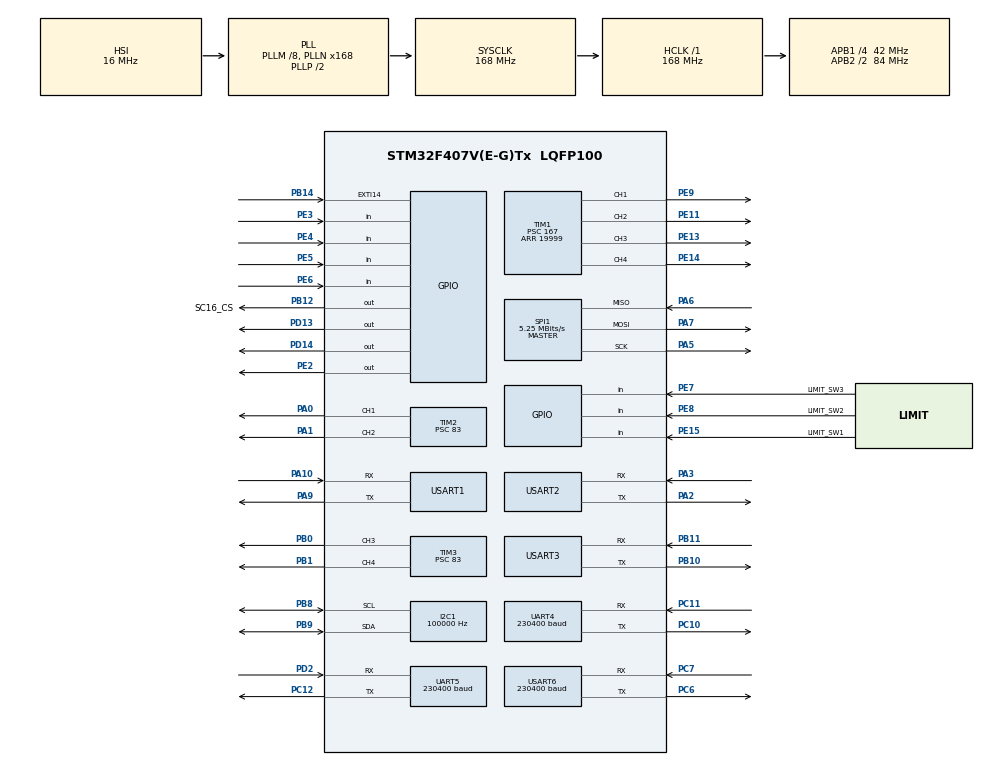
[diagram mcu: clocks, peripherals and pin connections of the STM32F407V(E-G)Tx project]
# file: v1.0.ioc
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Dma.I2C1_TX.0.Direction=DMA_MEMORY_TO_PERIPH
Dma.I2C1_TX.0.FIFOMode=DMA_FIFOMODE_DISABLE
Dma.I2C1_TX.0.Instance=DMA1_Stream7
Dma.I2C1_TX.0.MemDataAlignment=DMA_MDATAALIGN_BYTE
Dma.I2C1_TX.0.MemInc=DMA_MINC_ENABLE
Dma.I2C1_TX.0.Mode=DMA_NORMAL
Dma.I2C1_TX.0.PeriphDataAlignment=DMA_PDATAALIGN_BYTE
Dma.I2C1_TX.0.PeriphInc=DMA_PINC_DISABLE
Dma.I2C1_TX.0.Priority=DMA_PRIORITY_LOW
Dma.Request0=I2C1_TX
Dma.Request1=SPI1_RX
Dma.Request10=USART2_TX
Dma.Request2=UART4_RX
Dma.Request3=UART5_RX
Dma.Request4=USART6_RX
Dma.Request5=SPI1_TX
Dma.Request6=USART1_TX
Dma.Request7=USART1_RX
Dma.Request8=USART3_RX
Dma.Request9=USART2_RX
Dma.SPI1_RX.1.Direction=DMA_PERIPH_TO_MEMORY
Dma.SPI1_RX.1.FIFOMode=DMA_FIFOMODE_DISABLE
Dma.SPI1_RX.1.Instance=DMA2_Stream0
Dma.SPI1_RX.1.MemDataAlignment=DMA_MDATAALIGN_BYTE
Dma.SPI1_RX.1.MemInc=DMA_MINC_ENABLE
Dma.SPI1_RX.1.Mode=DMA_NORMAL
Dma.SPI1_RX.1.PeriphDataAlignment=DMA_PDATAALIGN_BYTE
Dma.SPI1_RX.1.PeriphInc=DMA_PINC_DISABLE
Dma.SPI1_RX.1.Priority=DMA_PRIORITY_HIGH
Dma.SPI1_TX.5.Direction=DMA_MEMORY_TO_PERIPH
Dma.SPI1_TX.5.FIFOMode=DMA_FIFOMODE_DISABLE
Dma.SPI1_TX.5.Instance=DMA2_Stream3
Dma.SPI1_TX.5.MemDataAlignment=DMA_MDATAALIGN_BYTE
Dma.SPI1_TX.5.MemInc=DMA_MINC_ENABLE
Dma.SPI1_TX.5.Mode=DMA_NORMAL
Dma.SPI1_TX.5.PeriphDataAlignment=DMA_PDATAALIGN_BYTE
Dma.SPI1_TX.5.PeriphInc=DMA_PINC_DISABLE
Dma.SPI1_TX.5.Priority=DMA_PRIORITY_HIGH
Dma.UART4_RX.2.Direction=DMA_PERIPH_TO_MEMORY
Dma.UART4_RX.2.FIFOMode=DMA_FIFOMODE_DISABLE
Dma.UART4_RX.2.Instance=DMA1_Stream2
Dma.UART4_RX.2.MemDataAlignment=DMA_MDATAALIGN_BYTE
Dma.UART4_RX.2.MemInc=DMA_MINC_ENABLE
Dma.UART4_RX.2.Mode=DMA_CIRCULAR
Dma.UART4_RX.2.PeriphDataAlignment=DMA_PDATAALIGN_BYTE
Dma.UART4_RX.2.PeriphInc=DMA_PINC_DISABLE
Dma.UART4_RX.2.Priority=DMA_PRIORITY_HIGH
Dma.UART5_RX.3.Direction=DMA_PERIPH_TO_MEMORY
Dma.UART5_RX.3.FIFOMode=DMA_FIFOMODE_DISABLE
Dma.UART5_RX.3.Instance=DMA1_Stream0
Dma.UART5_RX.3.MemDataAlignment=DMA_MDATAALIGN_BYTE
Dma.UART5_RX.3.MemInc=DMA_MINC_ENABLE
Dma.UART5_RX.3.Mode=DMA_CIRCULAR
Dma.UART5_RX.3.PeriphDataAlignment=DMA_PDATAALIGN_BYTE
Dma.UART5_RX.3.PeriphInc=DMA_PINC_DISABLE
Dma.UART5_RX.3.Priority=DMA_PRIORITY_HIGH
Dma.USART1_RX.7.Direction=DMA_PERIPH_TO_MEMORY
Dma.USART1_RX.7.FIFOMode=DMA_FIFOMODE_DISABLE
Dma.USART1_RX.7.Instance=DMA2_Stream2
Dma.USART1_RX.7.MemDataAlignment=DMA_MDATAALIGN_BYTE
Dma.USART1_RX.7.MemInc=DMA_MINC_ENABLE
Dma.USART1_RX.7.Mode=DMA_NORMAL
Dma.USART1_RX.7.PeriphDataAlignment=DMA_PDATAALIGN_BYTE
Dma.USART1_RX.7.PeriphInc=DMA_PINC_DISABLE
Dma.USART1_RX.7.Priority=DMA_PRIORITY_MEDIUM
Dma.USART1_TX.6.Direction=DMA_MEMORY_TO_PERIPH
Dma.USART1_TX.6.FIFOMode=DMA_FIFOMODE_DISABLE
Dma.USART1_TX.6.Instance=DMA2_Stream7
Dma.USART1_TX.6.MemDataAlignment=DMA_MDATAALIGN_BYTE
Dma.USART1_TX.6.MemInc=DMA_MINC_ENABLE
Dma.USART1_TX.6.Mode=DMA_NORMAL
Dma.USART1_TX.6.PeriphDataAlignment=DMA_PDATAALIGN_BYTE
Dma.USART1_TX.6.PeriphInc=DMA_PINC_DISABLE
Dma.USART1_TX.6.Priority=DMA_PRIORITY_MEDIUM
Dma.USART2_RX.9.Direction=DMA_PERIPH_TO_MEMORY
Dma.USART2_RX.9.FIFOMode=DMA_FIFOMODE_DISABLE
Dma.USART2_RX.9.Instance=DMA1_Stream5
Dma.USART2_RX.9.MemDataAlignment=DMA_MDATAALIGN_BYTE
Dma.USART2_RX.9.MemInc=DMA_MINC_ENABLE
Dma.USART2_RX.9.Mode=DMA_CIRCULAR
Dma.USART2_RX.9.PeriphDataAlignment=DMA_PDATAALIGN_BYTE
Dma.USART2_RX.9.PeriphInc=DMA_PINC_DISABLE
Dma.USART2_RX.9.Priority=DMA_PRIORITY_LOW
Dma.USART2_TX.10.Direction=DMA_MEMORY_TO_PERIPH
Dma.USART2_TX.10.FIFOMode=DMA_FIFOMODE_DISABLE
Dma.USART2_TX.10.Instance=DMA1_Stream6
Dma.USART2_TX.10.MemDataAlignment=DMA_MDATAALIGN_BYTE
Dma.USART2_TX.10.MemInc=DMA_MINC_ENABLE
Dma.USART2_TX.10.Mode=DMA_NORMAL
Dma.USART2_TX.10.PeriphDataAlignment=DMA_PDATAALIGN_BYTE
Dma.USART2_TX.10.PeriphInc=DMA_PINC_DISABLE
Dma.USART2_TX.10.Priority=DMA_PRIORITY_LOW
Dma.USART3_RX.8.Direction=DMA_PERIPH_TO_MEMORY
Dma.USART3_RX.8.FIFOMode=DMA_FIFOMODE_DISABLE
Dma.USART3_RX.8.Instance=DMA1_Stream1
Dma.USART3_RX.8.MemDataAlignment=DMA_MDATAALIGN_BYTE
Dma.USART3_RX.8.MemInc=DMA_MINC_ENABLE
Dma.USART3_RX.8.Mode=DMA_CIRCULAR
Dma.USART3_RX.8.PeriphDataAlignment=DMA_PDATAALIGN_BYTE
Dma.USART3_RX.8.PeriphInc=DMA_PINC_DISABLE
Dma.USART3_RX.8.Priority=DMA_PRIORITY_HIGH
Dma.USART6_RX.4.Direction=DMA_PERIPH_TO_MEMORY
Dma.USART6_RX.4.FIFOMode=DMA_FIFOMODE_DISABLE
Dma.USART6_RX.4.Instance=DMA2_Stream1
Dma.USART6_RX.4.MemDataAlignment=DMA_MDATAALIGN_BYTE
Dma.USART6_RX.4.MemInc=DMA_MINC_ENABLE
Dma.USART6_RX.4.Mode=DMA_CIRCULAR
Dma.USART6_RX.4.PeriphDataAlignment=DMA_PDATAALIGN_BYTE
Dma.USART6_RX.4.PeriphInc=DMA_PINC_DISABLE
Dma.USART6_RX.4.Priority=DMA_PRIORITY_HIGH
FREERTOS.Tasks01=defaultTask,24,128,StartDefaultTask,Default,NULL,Dynamic,NULL,NULL
I2C1.ClockSpeed=100000
I2C1.I2C_Mode=I2C_Fast
Mcu.Family=STM32F4
Mcu.Name=STM32F407V(E-G)Tx
Mcu.Package=LQFP100
NVIC.DMA1_Stream0_IRQn=true\:5\:0\:false\:false\:true\:true\:false\:true\:true
NVIC.DMA1_Stream1_IRQn=true\:5\:0\:false\:false\:true\:true\:false\:true\:true
NVIC.DMA1_Stream2_IRQn=true\:5\:0\:false\:false\:true\:true\:false\:true\:true
NVIC.DMA1_Stream5_IRQn=true\:5\:0\:false\:false\:true\:true\:false\:true\:true
NVIC.DMA1_Stream6_IRQn=true\:5\:0\:false\:false\:true\:true\:false\:true\:true
NVIC.DMA1_Stream7_IRQn=true\:5\:0\:false\:false\:true\:false\:false\:true\:true
NVIC.DMA2_Stream0_IRQn=true\:5\:0\:false\:false\:true\:true\:false\:true\:true
NVIC.DMA2_Stream1_IRQn=true\:5\:0\:false\:false\:true\:true\:false\:true\:true
NVIC.DMA2_Stream2_IRQn=true\:5\:0\:false\:false\:true\:true\:false\:true\:true
NVIC.DMA2_Stream3_IRQn=true\:5\:0\:false\:false\:true\:true\:false\:true\:true
NVIC.DMA2_Stream7_IRQn=true\:5\:0\:false\:false\:true\:true\:false\:true\:true
NVIC.EXTI15_10_IRQn=true\:5\:0\:true\:false\:true\:true\:true\:true\:true
NVIC.PriorityGroup=NVIC_PRIORITYGROUP_4
NVIC.SPI1_IRQn=true\:5\:0\:true\:false\:true\:true\:true\:true\:true
NVIC.TIM6_DAC_IRQn=true\:0\:0\:true\:false\:true\:false\:false\:true\:true
NVIC.TimeBase=TIM6_DAC_IRQn
NVIC.TimeBaseIP=TIM6
NVIC.UART4_IRQn=true\:6\:0\:true\:false\:true\:true\:true\:true\:true
NVIC.UART5_IRQn=true\:6\:0\:true\:false\:true\:true\:true\:true\:true
NVIC.USART1_IRQn=true\:7\:0\:true\:false\:true\:true\:true\:true\:true
NVIC.USART2_IRQn=true\:5\:0\:false\:false\:true\:true\:true\:true\:true
NVIC.USART3_IRQn=true\:6\:0\:true\:false\:true\:true\:true\:true\:true
NVIC.USART6_IRQn=true\:6\:0\:true\:false\:true\:true\:true\:true\:true
PA0-WKUP.Signal=S_TIM2_CH1_ETR
PA1.Signal=S_TIM2_CH2
PA10.Mode=Asynchronous
PA10.Signal=USART1_RX
PA13.Mode=Serial_Wire
PA13.Signal=SYS_JTMS-SWDIO
PA14.Mode=Serial_Wire
PA14.Signal=SYS_JTCK-SWCLK
PA2.Mode=Asynchronous
PA2.Signal=USART2_TX
PA3.Mode=Asynchronous
PA3.Signal=USART2_RX
PA5.Mode=Full_Duplex_Master
PA5.Signal=SPI1_SCK
PA6.Mode=Full_Duplex_Master
PA6.Signal=SPI1_MISO
PA7.Mode=Full_Duplex_Master
PA7.Signal=SPI1_MOSI
PA9.Mode=Asynchronous
PA9.Signal=USART1_TX
PB0.Signal=S_TIM3_CH3
PB1.Signal=S_TIM3_CH4
PB10.Mode=Asynchronous
PB10.Signal=USART3_TX
PB11.Mode=Asynchronous
PB11.Signal=USART3_RX
PB12.GPIO_Label=SC16_CS
PB12.PinState=GPIO_PIN_SET
PB12.Signal=GPIO_Output
PB14.GPIO_ModeDefaultEXTI=GPIO_MODE_IT_FALLING
PB14.GPIO_PuPd=GPIO_PULLUP
PB14.Signal=GPXTI14
PB8.Mode=I2C
PB8.Signal=I2C1_SCL
PB9.Mode=I2C
PB9.Signal=I2C1_SDA
PC10.Mode=Asynchronous
PC10.Signal=UART4_TX
PC11.Mode=Asynchronous
PC11.Signal=UART4_RX
PC12.Mode=Asynchronous
PC12.Signal=UART5_TX
PC6.Mode=Asynchronous
PC6.Signal=USART6_TX
PC7.Mode=Asynchronous
PC7.Signal=USART6_RX
PD13.Signal=GPIO_Output
PD14.Signal=GPIO_Output
PD2.Mode=Asynchronous
PD2.Signal=UART5_RX
PE11.Signal=S_TIM1_CH2
PE13.Signal=S_TIM1_CH3
PE14.Signal=S_TIM1_CH4
PE15.GPIO_Label=LIMIT_SW1
PE15.GPIO_PuPd=GPIO_PULLUP
PE15.Signal=GPIO_Input
PE2.Signal=GPIO_Output
PE3.Signal=GPIO_Input
PE4.Signal=GPIO_Input
PE5.Signal=GPIO_Input
PE6.Signal=GPIO_Input
PE7.GPIO_Label=LIMIT_SW3
PE7.GPIO_PuPd=GPIO_PULLUP
PE7.Signal=GPIO_Input
PE8.GPIO_Label=LIMIT_SW2
PE8.GPIO_PuPd=GPIO_PULLUP
PE8.Signal=GPIO_Input
PE9.Signal=S_TIM1_CH1
PH0-OSC_IN.Mode=HSE-External-Oscillator
PH0-OSC_IN.Signal=RCC_OSC_IN
PH1-OSC_OUT.Mode=HSE-External-Oscillator
PH1-OSC_OUT.Signal=RCC_OSC_OUT
ProjectManager.HeapSize=0x200
ProjectManager.StackSize=0x400
ProjectManager.TargetToolchain=MDK-ARM V5.32
RCC.48MHZClocksFreq_Value=84000000
RCC.AHBFreq_Value=168000000
RCC.APB1CLKDivider=RCC_HCLK_DIV4
RCC.APB1Freq_Value=42000000
RCC.APB1TimFreq_Value=84000000
RCC.APB2CLKDivider=RCC_HCLK_DIV2
RCC.APB2Freq_Value=84000000
RCC.APB2TimFreq_Value=168000000
RCC.CortexFreq_Value=168000000
RCC.HCLKFreq_Value=168000000
RCC.HSE_VALUE=8000000
RCC.HSI_VALUE=16000000
RCC.LSE_VALUE=32768
RCC.PLLM=8
RCC.PLLN=168
RCC.SYSCLKFreq_VALUE=168000000
RCC.SYSCLKSource=RCC_SYSCLKSOURCE_PLLCLK
RCC.VCOOutputFreq_Value=336000000
SH.S_TIM1_CH1.0=TIM1_CH1,PWM Generation1 CH1
SH.S_TIM1_CH2.0=TIM1_CH2,PWM Generation2 CH2
SH.S_TIM1_CH3.0=TIM1_CH3,PWM Generation3 CH3
SH.S_TIM1_CH4.0=TIM1_CH4,PWM Generation4 CH4
SH.S_TIM2_CH1_ETR.0=TIM2_CH1,PWM Generation1 CH1
SH.S_TIM2_CH2.0=TIM2_CH2,PWM Generation2 CH2
SH.S_TIM3_CH3.0=TIM3_CH3,PWM Generation3 CH3
SH.S_TIM3_CH4.0=TIM3_CH4,PWM Generation4 CH4
SPI1.BaudRatePrescaler=SPI_BAUDRATEPRESCALER_16
SPI1.CalculateBaudRate=5.25 MBits/s
SPI1.Direction=SPI_DIRECTION_2LINES
SPI1.Mode=SPI_MODE_MASTER
SPI1.VirtualType=VM_MASTER
TIM1.AutoReloadPreload=TIM_AUTORELOAD_PRELOAD_ENABLE
TIM1.Channel-PWM\ Generation1\ CH1=TIM_CHANNEL_1
TIM1.Channel-PWM\ Generation2\ CH2=TIM_CHANNEL_2
TIM1.Channel-PWM\ Generation3\ CH3=TIM_CHANNEL_3
TIM1.Channel-PWM\ Generation4\ CH4=TIM_CHANNEL_4
TIM1.Period=19999
TIM1.Prescaler=167
TIM1.Pulse-PWM\ Generation1\ CH1=1500
TIM1.Pulse-PWM\ Generation2\ CH2=1500
TIM1.Pulse-PWM\ Generation3\ CH3=1500
TIM1.Pulse-PWM\ Generation4\ CH4=1500
TIM2.AutoReloadPreload=TIM_AUTORELOAD_PRELOAD_ENABLE
TIM2.Channel-PWM\ Generation1\ CH1=TIM_CHANNEL_1
TIM2.Channel-PWM\ Generation2\ CH2=TIM_CHANNEL_2
TIM2.Period=19999
TIM2.Prescaler=83
TIM2.Pulse-PWM\ Generation1\ CH1=1500
TIM2.Pulse-PWM\ Generation2\ CH2=1500
TIM3.AutoReloadPreload=TIM_AUTORELOAD_PRELOAD_ENABLE
TIM3.Channel-PWM\ Generation3\ CH3=TIM_CHANNEL_3
TIM3.Channel-PWM\ Generation4\ CH4=TIM_CHANNEL_4
TIM3.Period=19999
TIM3.Prescaler=83
TIM3.Pulse-PWM\ Generation3\ CH3=1500
TIM3.Pulse-PWM\ Generation4\ CH4=1500
UART4.BaudRate=230400
UART4.VirtualMode=Asynchronous
UART5.BaudRate=230400
UART5.VirtualMode=Asynchronous
USART1.VirtualMode=VM_ASYNC
USART2.VirtualMode=VM_ASYNC
USART3.VirtualMode=VM_ASYNC
USART6.BaudRate=230400
USART6.VirtualMode=VM_ASYNC
VP_FREERTOS_VS_CMSIS_V2.Mode=CMSIS_V2
VP_SYS_VS_tim6.Mode=TIM6
VP_TIM1_VS_ClockSourceINT.Mode=Internal
VP_TIM2_VS_ClockSourceINT.Mode=Internal
VP_TIM3_VS_ClockSourceINT.Mode=Internal
board=custom

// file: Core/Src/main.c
/* USER CODE BEGIN Header */
/**
  ******************************************************************************
  * @file           : main.c
  * @brief          : Main program body
  ******************************************************************************
  * @attention
  *
  * Copyright (c) 2026 STMicroelectronics.
  * All rights reserved.
  *
  * This software is licensed under terms that can be found in the LICENSE file
  * in the root directory of this software component.
  * If no LICENSE file comes with this software, it is provided AS-IS.
  *
  ******************************************************************************
  */
/* USER CODE END Header */
#include "main.h"
#include "cmsis_os.h"
#include "dma.h"
#include "i2c.h"
#include "spi.h"
#include "tim.h"
#include "usart.h"
#include "gpio.h"

void SystemClock_Config(void);
void MX_FREERTOS_Init(void);

int main(void)
{

  /* MCU Configuration--------------------------------------------------------*/

  /* Reset of all peripherals, Initializes the Flash interface and the Systick. */
  HAL_Init();

  /* Configure the system clock */
  SystemClock_Config();

  /* Initialize all configured peripherals */
  MX_GPIO_Init();
  MX_DMA_Init();
  MX_I2C1_Init();
  MX_SPI1_Init();
  MX_UART4_Init();
  MX_UART5_Init();
  MX_USART6_UART_Init();
  MX_TIM1_Init();
  MX_TIM2_Init();
  MX_TIM3_Init();
  MX_USART1_UART_Init();
  MX_USART3_UART_Init();
  MX_USART2_UART_Init();
  /* USER CODE BEGIN 2 */

  Lidar_UartRxStart();

  /* USER CODE END 2 */

  /* Init scheduler */
  osKernelInitialize();  /* Call init function for freertos objects (in cmsis_os2.c) */
  MX_FREERTOS_Init();

  /* Start scheduler */
  osKernelStart();

  /* We should never get here as control is now taken by the scheduler */

  /* Infinite loop */
  while (1)
  {

  }
}

void SystemClock_Config(void)
{
  RCC_OscInitTypeDef RCC_OscInitStruct = {0};
  RCC_ClkInitTypeDef RCC_ClkInitStruct = {0};

  /** Configure the main internal regulator output voltage
  */
  __HAL_RCC_PWR_CLK_ENABLE();
  __HAL_PWR_VOLTAGESCALING_CONFIG(PWR_REGULATOR_VOLTAGE_SCALE1);

  /** Initializes the RCC Oscillators according to the specified parameters
  * in the RCC_OscInitTypeDef structure.
  */
  RCC_OscInitStruct.OscillatorType = RCC_OSCILLATORTYPE_HSI;
  RCC_OscInitStruct.HSIState = RCC_HSI_ON;
  RCC_OscInitStruct.HSICalibrationValue = RCC_HSICALIBRATION_DEFAULT;
  RCC_OscInitStruct.PLL.PLLState = RCC_PLL_ON;
  RCC_OscInitStruct.PLL.PLLSource = RCC_PLLSOURCE_HSI;
  RCC_OscInitStruct.PLL.PLLM = 8;
  RCC_OscInitStruct.PLL.PLLN = 168;
  RCC_OscInitStruct.PLL.PLLP = RCC_PLLP_DIV2;
  RCC_OscInitStruct.PLL.PLLQ = 4;
  if (HAL_RCC_OscConfig(&RCC_OscInitStruct) != HAL_OK)
  {
    Error_Handler();
  }

  /** Initializes the CPU, AHB and APB buses clocks
  */
  RCC_ClkInitStruct.ClockType = RCC_CLOCKTYPE_HCLK|RCC_CLOCKTYPE_SYSCLK
                              |RCC_CLOCKTYPE_PCLK1|RCC_CLOCKTYPE_PCLK2;
  RCC_ClkInitStruct.SYSCLKSource = RCC_SYSCLKSOURCE_PLLCLK;
  RCC_ClkInitStruct.AHBCLKDivider = RCC_SYSCLK_DIV1;
  RCC_ClkInitStruct.APB1CLKDivider = RCC_HCLK_DIV4;
  RCC_ClkInitStruct.APB2CLKDivider = RCC_HCLK_DIV2;

  if (HAL_RCC_ClockConfig(&RCC_ClkInitStruct, FLASH_LATENCY_5) != HAL_OK)
  {
    Error_Handler();
  }
}

void HAL_TIM_PeriodElapsedCallback(TIM_HandleTypeDef *htim)
{
  if (htim->Instance == TIM6)
  {
    HAL_IncTick();
  }
}

void Error_Handler(void)
{
  __disable_irq();
  while (1)
  {
  }
}

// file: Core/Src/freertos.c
/* USER CODE BEGIN Header */
/**
  ******************************************************************************
  * File Name          : freertos.c
  * Description        : Code for freertos applications
  ******************************************************************************
  * @attention
  *
  * Copyright (c) 2026 STMicroelectronics.
  * All rights reserved.
  *
  * This software is licensed under terms that can be found in the LICENSE file
  * in the root directory of this software component.
  * If no LICENSE file comes with this software, it is provided AS-IS.
  *
  ******************************************************************************
  */
/* USER CODE END Header */

#include "FreeRTOS.h"
#include "task.h"
#include "main.h"
#include "cmsis_os.h"

/* USER CODE BEGIN Includes */
#include "led.h"
#include "button.h"
#include "oled.h"
#include "servo.h"

#include "lidar_manager.h"

#include "spi.h"
#include "sc16is752.h"
#include "sbus.h"
#include "sc16_tasks.h"
#include "usart.h"
#include "Arm.h"

#include <stdbool.h>
#include "Emm_V5.h"
#include "event_groups.h"
#include "Limit.h"
#include "base_control.h"
#include "arm_motion.h"
#include "Usart_to_Pi.h"
#include "pi_protocol.h"
#include "fruit_pick.h"
#include "game_task.h"
#include <stdio.h>
/* USER CODE END Includes */

/* USER CODE BEGIN Variables */
/* SC16IS752：接收信号量（由驱动在DMA完成中断中释放） */
SemaphoreHandle_t g_sc16RxSemA = NULL;
SemaphoreHandle_t g_sc16RxSemB = NULL;

/* SC16IS752：事件标志组（用于IRQ中断唤醒处理任务） */
EventGroupHandle_t g_sc16EventGroup = NULL;
#define SC16_EVENT_IRQ_TRIGGERED  (1u << 0)  /* IRQ中断触发标志 */

/*
 * 自动抓取流程调试变量。
 * 用 ST-Link 进入 Debug 后加入 Watch 窗口查看：
 *   g_debug_arm_status      XYZ 初始化/回零结果
 *   g_debug_pi_ping_status  PING 结果，0 表示成功
 *   g_debug_pi_scan_status  SCAN/FRUIT 结果，0 表示成功
 *   g_debug_pick_status     FruitPick_PickOne() 结果，0 表示成功
 *   g_debug_fruit_*         STM32 实际解析到的目标
 *   g_debug_creep_exit_*    连续巡航抓取函数退出码，OLED 第 4 行显示 ERR:<code>
 */
volatile int g_debug_creep_exit_status = 0;
volatile uint8_t g_debug_creep_exit_valid = 0u;

/* Definitions for sc16RxATask */
osThreadId_t sc16RxATaskHandle;
const osThreadAttr_t sc16RxATask_attributes = {
  .name = "sc16RxATask",
  .stack_size = 192 * 4,
  .priority = (osPriority_t) osPriorityNormal,
};

/* Definitions for sc16RxBTask */
osThreadId_t sc16RxBTaskHandle;
const osThreadAttr_t sc16RxBTask_attributes = {
  .name = "sc16RxBTask",
  .stack_size = 192 * 4,
  .priority = (osPriority_t) osPriorityNormal,
};

/* Definitions for oledTask */
osThreadId_t oledTaskHandle;
const osThreadAttr_t oledTask_attributes = {
  .name = "oledTask",
  .stack_size = 256 * 4,
  .priority = (osPriority_t) osPriorityBelowNormal,
};

/* USER CODE END Variables */
/* Definitions for defaultTask */
osThreadId_t defaultTaskHandle;
const osThreadAttr_t defaultTask_attributes = {
  .name = "defaultTask",
  .stack_size = 384 * 4,
  .priority = (osPriority_t) osPriorityNormal,
};

/* USER CODE BEGIN FunctionPrototypes */
void StartOledTask(void *argument);
/* USER CODE END FunctionPrototypes */

void StartDefaultTask(void *argument);

void MX_FREERTOS_Init(void); /* (MISRA C 2004 rule 8.1) */

void MX_FREERTOS_Init(void) {
  /* USER CODE BEGIN Init */
  LED_Init();
  Button_Init();
  Servo_Init();
  Limit_Init();
  PiUart2_Init();
   /* USER CODE END Init */
  /* USER CODE END Init */

  /* USER CODE BEGIN RTOS_SEMAPHORES */
  /* SC16IS752：创建接收信号量，使用二值信号量同步DMA接收完成 */
  g_sc16RxSemA = xSemaphoreCreateBinary();
  g_sc16RxSemB = xSemaphoreCreateBinary();

  /* SC16IS752：创建事件标志组，用于IRQ中断唤醒 */
  g_sc16EventGroup = xEventGroupCreate();

  /* OLED/UI：初始化业务状态同步对象，让OLED任务统一刷新显示。 */
  GameUi_Init();
  /* USER CODE END RTOS_SEMAPHORES */

  /* Create the thread(s) */
  /* creation of defaultTask */
  defaultTaskHandle = osThreadNew(StartDefaultTask, NULL, &defaultTask_attributes);

  /* USER CODE BEGIN RTOS_THREADS */
  oledTaskHandle = osThreadNew(StartOledTask, NULL, &oledTask_attributes);

  /* SC16IS752：初始化必须在任务启动前完成（用于打开中断、配置FIFO和波特率） */
  if (g_sc16RxSemA != NULL && g_sc16RxSemB != NULL)
  {
    if (SC16_Init(&g_sc16, &hspi1, 14745600u, g_sc16RxSemA, g_sc16RxSemB) == HAL_OK)
    {
      sc16RxATaskHandle = osThreadNew(StartSc16RxATask, NULL, &sc16RxATask_attributes);
      sc16RxBTaskHandle = osThreadNew(StartSc16RxBTask, NULL, &sc16RxBTask_attributes);
    }
  }
  /* USER CODE END RTOS_THREADS */

}

/* USER CODE BEGIN Header_StartDefaultTask */
/**
  * @brief  Function implementing the defaultTask thread.
  *  默认任务：初始化舵机、电机、LED、按钮、OLED、SC16IS752等。
  *  写任务的主流程来控制舵机、电机、LED、按钮、OLED、SC16IS752等。
  * @param  argument: Not used
  * @retval None
  */
/* USER CODE END Header_StartDefaultTask */
void StartDefaultTask(void *argument)
{
  /* USER CODE BEGIN StartDefaultTask */
  ArmMotionStatus_t arm_status = ARM_MOTION_OK;
  ArmPoint_t arm_position = {0.0f, ARM_MOTION_Y_PRE_EXTEND_MM, 0.0f};
  FruitTarget_t fruit = {FRUIT_BIG, 0, 0, 0, 0, 0};
  int pi_status = 0;
  int pick_status = 0;
  int creep_exit_status = 0;

  (void)argument;
  (void)arm_status;
  (void)fruit;
  (void)pi_status;
  (void)pick_status;
  /* 上电复位前，先让大小果篮处于垂直避让状态。 */
  Servo_SetAll_Init();

  //等待陀螺仪稳定，避免OLED显示异常数据
  osDelay(1500);
  Emm_V5_All_Init();
  // Emm_V5_Disable_ID1_4();

  //使能所有电机

  /*
   * 测试代码
  */
  // FruitBasket_DumpBig();
  // Base_ForwardDistanceCmNoYaw(-20.0f, 80, 40);

  // 等待树莓派串口协议可用，并等待人工按键确认后才继续比赛主流程。
  Game_WaitPiReadyAndUserStart();
  // /*
  //  * XYZ 上电回零：回零完成后，立即把 Y 轴移动到 40mm。
  //  * 后续普通 Arm_MoveToPoint() 调用不允许目标 Y 小于 40mm。
  // */

	arm_status = Arm_HomeXYZ();
	if (arm_status == ARM_MOTION_OK)
	{
	  arm_status = Arm_MoveToPoint(0.0f, ARM_MOTION_Y_PRE_EXTEND_MM, 0.0f);
	  if (arm_status == ARM_MOTION_OK)
	  {
		  Servo_SetFruitBasketsLoad();
	  }
	}

  // /*
  //  * 前往采摘区的赛道动作草稿：
  //  *   前进到前方 300mm 阈值，按相对本次 MCU 复位零点的 0/-90/180/-90/0 度航向分段行驶和转向。
  //  *   下面参数均为已测过的保守值，启用前按实车路线逐段取消注释。
  //  */
  Base_ForwardUntilFrontDistanceHoldYaw(400, 80, 0.0f, 5.0f, 0.0f, 2000);
  Base_RotateToAbsYaw(-90.0f, 55.0f, 0.8f, 0.05f);
  Base_ForwardUntilFrontDistanceHoldYaw(400, 100, -90.0f, 5.0f, 0.0f, 3000);
  Base_RotateToAbsYaw(180.0f, 55.0f, 0.8f, 0.05f);
  Base_ForwardUntilFrontDistanceHoldYaw(700, 100, 180.0f, 5.0f, 0.0f, 2000);
  Base_RotateToAbsYaw(-90.0f, 55.0f, 0.8f, 0.05f);
  Base_ForwardUntilFrontDistanceHoldYaw(760, 100, -90.0f, 5.0f, 0.0f, 6000);
  Base_RotateToAbsYaw(0.0f, 55.0f, 0.8f, 0.05f);

  /*
   * 沿直线采摘果实
  */
    if (arm_status == ARM_MOTION_OK)
    {
      g_debug_creep_exit_valid = 0u;
      creep_exit_status = Game_CreepWatchAndPickUntilFrontDistance(
                            0u,
                            TREE_VIEW_LEFT,
                            700u,
                            17,
                            0.0f,
                            5.0f,
                            0.0f,
                            10*1000);
      g_debug_creep_exit_status = creep_exit_status;
      g_debug_creep_exit_valid = 1u;
    }

      Base_RotateToAbsYaw(90.0f, 55.0f, 0.8f, 0.05f);
      Base_ForwardUntilFrontDistanceHoldYaw(400, 100, 90.0f, 5.0f, 0.0f, 4000);
      Base_RotateToAbsYaw(180.0f, 55.0f, 0.8f, 0.05f);
      Base_ForwardUntilFrontDistanceHoldYaw(250, 80, 180.0f, 5.0f, 0.0f, 2000);
      Base_RotateToAbsYaw(90.0f, 55.0f, 0.8f, 0.05f);
      Base_ForwardUntilFrontDistanceHoldYaw(200, 80, 90.0f, 5.0f, 0.0f, 3000);

      //移动Y轴到较为安全的区域
      if (arm_status == ARM_MOTION_OK)
      {
        arm_status = Arm_GetCurrentPosition(&arm_position);
        if (arm_status == ARM_MOTION_OK)
        {
          arm_status = Arm_MoveToPoint(0.0, 40.0f, 0.0);
        }
      }
      FruitBasket_DumpBig();//倒大苹果
	  Base_ForwardDistanceCmNoYaw(-15.0f, 80, 40);
      Base_RotateToAbsYaw(0.0f, 55.0f, 0.8f, 0.05f);
      Base_ForwardUntilFrontDistanceHoldYaw(280, 80, 0.0f, 5.0f, 0.0f, 1000);
	  Base_RotateToAbsYaw(-90.0f, 55.0f, 0.8f, 0.05f);
      Base_ForwardDistanceCmNoYaw(-40.0f, 80, 40);
      FruitBasket_DumpSmall();//倒小苹果

  /* Infinite loop */
  for(;;)
  {
  	 //电机测试
    //Emm_V5_Motor_Control(0, 0, 3);
    /* 每完成一轮翻转一次LED1作为任务心跳 */
    LED_Toggle(1);
    osDelay(100);
  }
  /* USER CODE END StartDefaultTask */
}

/* USER CODE BEGIN Application */

/**
  * @brief OLED/UI任务：左侧显示激光测距，右侧显示IMU（20ms刷新且互不重叠）
  */
static uint16_t Oled_FloatAbsTo3Digits(float value)
{
  float abs_v;
  uint16_t out;

  abs_v = (value >= 0.0f) ? value : -value;
  if (abs_v > 999.0f)
  {
    abs_v = 999.0f;
  }

  out = (uint16_t)(abs_v + 0.5f);
  return out;
}

void StartOledTask(void *argument)
{
  HAL_StatusTypeDef oled_ok;
  const char *pi_status_text;
  char err_text[17];
  uint16_t dist0;
  uint16_t dist1;
  uint16_t dist2;
  uint16_t imu_yaw;

  (void)argument;

  osDelay(50);
  oled_ok = OLED_Init();

  if (oled_ok == HAL_OK)
  {
    (void)OLED_Clear();

    /* 左侧列(1~8)给激光，右侧列(9~16)给IMU/舵机，中间留一列空白分隔。 */
    (void)OLED_ClearBuffer();
    (void)OLED_DrawString(1, 1, "L1");
    (void)OLED_DrawString(2, 1, "L2");
    (void)OLED_DrawString(3, 1, "L3");

    (void)OLED_DrawString(1, 13, "Y");

    (void)OLED_Flush();
  }

  for(;;)
  {

    /* 每20ms读取一次激光+IMU并刷新到OLED。 */
    if (oled_ok == HAL_OK)
    {
      // 读取三路激光雷达距离（单位：mm），分别显示在OLED左侧三行
      dist0 = (uint16_t)g_LidarArray[0].points[0].distance; // L1
      dist1 = (uint16_t)g_LidarArray[1].points[0].distance; // L2
      dist2 = (uint16_t)g_LidarArray[2].points[0].distance; // L3

      // 读取IMU姿态角（pitch/roll/yaw），并转为3位整数用于显示
      imu_yaw = Oled_FloatAbsTo3Digits(Imu_GetYawRelative());     // Yaw
      (void)Imu_GetFrameReadyAndClear(); // 清除IMU新帧标志

      // OLED左侧显示激光距离，列4，行1/2/3分别为L1/L2/L3
      (void)OLED_DrawNum(1, 4, dist0, 5); // L1
      (void)OLED_DrawNum(2, 4, dist1, 5); // L2
      (void)OLED_DrawNum(3, 4, dist2, 5); // L3

      (void)OLED_DrawNum(1, 14, imu_yaw, 3);     // Yaw，列14

      if (g_debug_creep_exit_valid != 0u)
      {
        (void)OLED_DrawString(4, 1, "                ");
        (void)snprintf(err_text, sizeof(err_text), "ERR:%d", g_debug_creep_exit_status);
        (void)OLED_DrawString(4, 1, err_text);
      }
      else
      {
        pi_status_text = GameUi_GetPiStatusText();
        if (pi_status_text != NULL)
        {
          (void)OLED_DrawString(4, 1, "                ");
          (void)OLED_DrawString(4, 1, pi_status_text);
        }
      }

      // 刷新OLED，将buffer内容显示到屏幕
      (void)OLED_Flush();
    }

    osDelay(20);
  }
}
/* USER CODE END Application */
